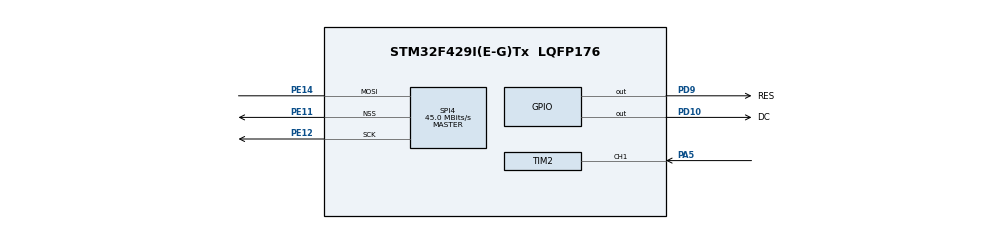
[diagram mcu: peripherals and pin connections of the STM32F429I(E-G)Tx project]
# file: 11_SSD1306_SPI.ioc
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Mcu.Family=STM32F4
Mcu.Name=STM32F429I(E-G)Tx
Mcu.Package=LQFP176
NVIC.PriorityGroup=NVIC_PRIORITYGROUP_4
PA13.Mode=Trace_Asynchronous_SW
PA13.Signal=SYS_JTMS-SWDIO
PA14.Mode=Trace_Asynchronous_SW
PA14.Signal=SYS_JTCK-SWCLK
PA5.GPIO_ModeDefaultPP=GPIO_MODE_AF_PP
PA5.GPIO_Speed=GPIO_SPEED_FREQ_HIGH
PA5.Signal=S_TIM2_CH1_ETR
PB3.Mode=Trace_Asynchronous_SW
PB3.Signal=SYS_JTDO-SWO
PC14/OSC32_IN.Mode=LSE-External-Oscillator
PC14/OSC32_IN.Signal=RCC_OSC32_IN
PC15/OSC32_OUT.Mode=LSE-External-Oscillator
PC15/OSC32_OUT.Signal=RCC_OSC32_OUT
PD10.GPIO_Label=DC
PD10.GPIO_Speed=GPIO_SPEED_FREQ_VERY_HIGH
PD10.PinState=GPIO_PIN_SET
PD10.Signal=GPIO_Output
PD9.GPIO_Label=RES
PD9.GPIO_Speed=GPIO_SPEED_FREQ_VERY_HIGH
PD9.PinState=GPIO_PIN_SET
PD9.Signal=GPIO_Output
PE11.GPIO_PuPd=GPIO_PULLUP
PE11.Mode=NSS_Signal_Hard_Output
PE11.Signal=SPI4_NSS
PE12.Mode=Simplex_Bidirectional_Master
PE12.Signal=SPI4_SCK
PE14.Mode=Simplex_Bidirectional_Master
PE14.Signal=SPI4_MOSI
PH0/OSC_IN.Mode=HSE-External-Oscillator
PH0/OSC_IN.Signal=RCC_OSC_IN
PH1/OSC_OUT.Mode=HSE-External-Oscillator
PH1/OSC_OUT.Signal=RCC_OSC_OUT
ProjectManager.HeapSize=0x200
ProjectManager.StackSize=0x400
ProjectManager.TargetToolchain=STM32CubeIDE
RCC.48MHZClocksFreq_Value=90000000
RCC.AHBFreq_Value=180000000
RCC.APB1CLKDivider=RCC_HCLK_DIV4
RCC.APB1Freq_Value=45000000
RCC.APB1TimFreq_Value=90000000
RCC.APB2CLKDivider=RCC_HCLK_DIV2
RCC.APB2Freq_Value=90000000
RCC.APB2TimFreq_Value=180000000
RCC.CortexFreq_Value=180000000
RCC.HCLKFreq_Value=180000000
RCC.HSE_VALUE=25000000
RCC.HSI_VALUE=16000000
RCC.PLLM=15
RCC.PLLN=216
RCC.PLLSourceVirtual=RCC_PLLSOURCE_HSE
RCC.SYSCLKFreq_VALUE=180000000
RCC.SYSCLKSource=RCC_SYSCLKSOURCE_PLLCLK
RCC.VCOOutputFreq_Value=360000000
SH.S_TIM2_CH1_ETR.0=TIM2_CH1,Input_Capture1_from_TI1
SPI4.CalculateBaudRate=45.0 MBits/s
SPI4.Direction=SPI_DIRECTION_1LINE
SPI4.Mode=SPI_MODE_MASTER
SPI4.VirtualNSS=VM_NSSHARD
SPI4.VirtualType=VM_MASTER
TIM2.AutoReloadPreload=TIM_AUTORELOAD_PRELOAD_ENABLE
TIM2.Channel-Input_Capture1_from_TI1=TIM_CHANNEL_1
TIM2.Period=0xffffffff
TIM2.Prescaler=8
TIM2.TIM_MasterSlaveMode=TIM_MASTERSLAVEMODE_DISABLE
board=custom

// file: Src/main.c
/* USER CODE BEGIN Header */
/**
 ******************************************************************************
 * @file           : main.c
 * @brief          : Main program body
 ******************************************************************************
 * @attention
 *
 * <h2><center>&copy; Copyright (c) 2019 STMicroelectronics.
 * All rights reserved.</center></h2>
 *
 * This software component is licensed by ST under BSD 3-Clause license,
 * the "License"; You may not use this file except in compliance with the
 * License. You may obtain a copy of the License at:
 *                        opensource.org/licenses/BSD-3-Clause
 *
 ******************************************************************************
 */
/* USER CODE END Header */

#include "main.h"
#include "spi.h"
#include "tim.h"
#include "gpio.h"

/* USER CODE BEGIN Includes */
#include <stdio.h>
#include <tpad.h>
#include <SSD1306_SPI.h>
#include <bad_apple_pic.h>
/* USER CODE END Includes */

void SystemClock_Config (void);

int main (void)
{

    /* MCU Configuration--------------------------------------------------------*/

    /* Reset of all peripherals, Initializes the Flash interface and the Systick. */
    HAL_Init ();

    /* Configure the system clock */
    SystemClock_Config ();

    /* Initialize all configured peripherals */
    MX_GPIO_Init ();
    MX_TIM2_Init ();
    MX_SPI4_Init ();
    /* USER CODE BEGIN 2 */
    printf ("Start\r\n");

    OLED_Init ();

    OLED_Fill (0, 0, 127, 63, 0);
    HAL_Delay (300);
    OLED_Fill (0, 0, 127, 63, 1);
    HAL_Delay (300);

    OLED_Send_pic ();

    while (1)
    {
	OLED_WR_Byte (0x26, OLED_CMD);
	OLED_WR_Byte (0x00, OLED_CMD);
	OLED_WR_Byte (0x00, OLED_CMD); //start page
	OLED_WR_Byte (0x07, OLED_CMD);
	OLED_WR_Byte (0x03, OLED_CMD); //end page
	OLED_WR_Byte (0x00, OLED_CMD);
	OLED_WR_Byte (0xff, OLED_CMD);

	OLED_WR_Byte (0x2f, OLED_CMD);
	HAL_Delay (1000);
	OLED_WR_Byte (0x2e, OLED_CMD);

	OLED_WR_Byte (0x29, OLED_CMD);
	OLED_WR_Byte (0x00, OLED_CMD);
	OLED_WR_Byte (0x00, OLED_CMD);
	OLED_WR_Byte (0x07, OLED_CMD);
	OLED_WR_Byte (0x07, OLED_CMD);
	OLED_WR_Byte (0x01, OLED_CMD);

	OLED_WR_Byte (0x2f, OLED_CMD);
	HAL_Delay (1000);
	OLED_WR_Byte (0x2e, OLED_CMD);
    }

    /* USER CODE END 2 */

    /* Infinite loop */
    /* USER CODE BEGIN WHILE */
    while (1)
    {
	TPAD_Scan (0);
	HAL_Delay (10);
	/* USER CODE END WHILE */

    }
}

void SystemClock_Config (void)
{
    RCC_OscInitTypeDef RCC_OscInitStruct =
	{ 0 };
    RCC_ClkInitTypeDef RCC_ClkInitStruct =
	{ 0 };

    /** Configure the main internal regulator output voltage
     */
    __HAL_RCC_PWR_CLK_ENABLE();
    __HAL_PWR_VOLTAGESCALING_CONFIG(PWR_REGULATOR_VOLTAGE_SCALE1);
    /** Initializes the CPU, AHB and APB busses clocks
     */
    RCC_OscInitStruct.OscillatorType = RCC_OSCILLATORTYPE_HSE;
    RCC_OscInitStruct.HSEState = RCC_HSE_ON;
    RCC_OscInitStruct.PLL.PLLState = RCC_PLL_ON;
    RCC_OscInitStruct.PLL.PLLSource = RCC_PLLSOURCE_HSE;
    RCC_OscInitStruct.PLL.PLLM = 15;
    RCC_OscInitStruct.PLL.PLLN = 216;
    RCC_OscInitStruct.PLL.PLLP = RCC_PLLP_DIV2;
    RCC_OscInitStruct.PLL.PLLQ = 4;
    if (HAL_RCC_OscConfig (&RCC_OscInitStruct) != HAL_OK)
    {
	Error_Handler ();
    }
    /** Activate the Over-Drive mode
     */
    if (HAL_PWREx_EnableOverDrive () != HAL_OK)
    {
	Error_Handler ();
    }
    /** Initializes the CPU, AHB and APB busses clocks
     */
    RCC_ClkInitStruct.ClockType = RCC_CLOCKTYPE_HCLK | RCC_CLOCKTYPE_SYSCLK
	    | RCC_CLOCKTYPE_PCLK1 | RCC_CLOCKTYPE_PCLK2;
    RCC_ClkInitStruct.SYSCLKSource = RCC_SYSCLKSOURCE_PLLCLK;
    RCC_ClkInitStruct.AHBCLKDivider = RCC_SYSCLK_DIV1;
    RCC_ClkInitStruct.APB1CLKDivider = RCC_HCLK_DIV4;
    RCC_ClkInitStruct.APB2CLKDivider = RCC_HCLK_DIV2;

    if (HAL_RCC_ClockConfig (&RCC_ClkInitStruct, FLASH_LATENCY_5) != HAL_OK)
    {
	Error_Handler ();
    }
}

/* USER CODE BEGIN 4 */

int _write (int file,char*ptr,int len)
{
    int DataIdx;
    for (DataIdx = 0; DataIdx < len; DataIdx++)
    {
	ITM_SendChar (*ptr++);
    }
    return len;
}

/* USER CODE END 4 */

void Error_Handler (void)
{
}

/************************ (C) COPYRIGHT STMicroelectronics *****END OF FILE****/
